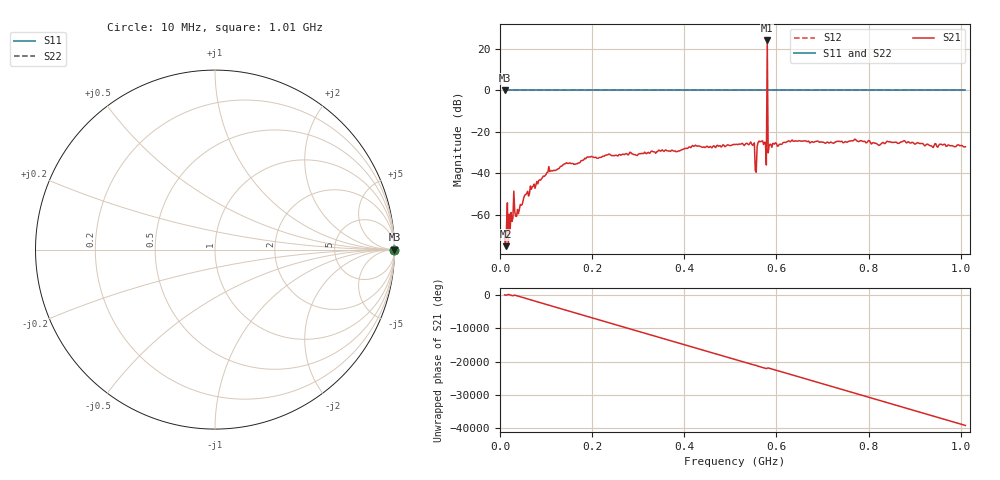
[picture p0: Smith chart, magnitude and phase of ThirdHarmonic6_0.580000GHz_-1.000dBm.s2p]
! 8/15/2025 6:44:15 PM
! C:\ANRITSUVNA\TEMP\TEMP.S2P
! CHANNEL.1
! TR.MEASUREMENT
! RAW.DATA
! RF.CORRECTION.OFF
! AVERAGING.OFF
! IF.BANDWIDTH: 5KHZ
! SWEEPTYPE:  FREQ.SWEEP(Linear)
! Reference Plane Port Info
! PORT:  PORT1  PORT2
! DISTANCE:  0  m  0  m
! TIME:  0  s  0  s
! PHASE.OFFSET:  0  deg.  0  deg.
! LOSS:  0  dB  0  dB
! REF.LOSS:  0  dB  0  dB
! REF.FREQ:  0  Hz  0  Hz
! Power Info
! POWER:  -20  dBm  -20  dBm
! EFF.POWER:  -20  dBm  -20  dBm
! SOURCE.ATTEN:  0  dB  0  dB
! TEST.ATTEN:  0  dB  0  dB
# GHZ S RI R 50.0
! FREQ.GHZ  S11RE  S11IM  S21RE  S21IM  S12RE  S12IM  S22RE  S22IM
!; PortSelection: Port_12
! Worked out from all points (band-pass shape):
!   501 points, 10 MHz to 1.01 GHz, reference 50 ohm
!   highest |S21| = 24.14 dB at 580 MHz (marker M1); lowest = -75.1 dB at 12 MHz (marker M2)
!   |S21| within 3 dB of the highest: 579.9001 MHz to 580.1106 MHz (210.5 kHz wide, 0.0363 % of centre)
!   lowest |S11| = 0.0 dB at 10 MHz (marker M3)
!   |S11| at or under -10 dB: nowhere
!   |S22| runs from 0.0 to 0.0 dB; largest |S21 - S12| = 15
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0.01  1 0  9.54e-05 0.000253  1 0  1 0
0.012  1 0  0.000162 6.56e-05  1 0  1 0
0.02  1 0  -0.00102 0.000148  1 0  1 0
0.022  1 0  0.000425 9.71e-05  1 0  1 0
0.028  1 0  -0.000829 4.25e-05  1 0  1 0
0.038  1 0  -0.000371 0.00129  1 0  1 0
0.056  1 0  -0.000451 0.00305  1 0  1 0
0.102  1 0  0.00998 0.00355  1 0  1 0
0.178  1 0  -0.0203 -0.000447  1 0  1 0
0.344  1 0  0.0275 -0.0235  1 0  1 0
0.51  1 0  -0.0172 0.0463  1 0  1 0
0.548  1 0  0.0458 0.0125  1 0  1 0
0.554  1 0  -0.0112 0.00345  1 0  1 0
0.564  1 0  -0.00532 0.0576  1 0  1 0
0.574  1 0  0.0411 0.0382  1 0  1 0
0.576  1 0  0.0441 -0.0342  1 0  1 0
0.58  1 0  15.83 2.941  1 0  1 0
0.584  1 0  0.0459 0.00352  1 0  1 0
0.586  1 0  0.0132 -0.0487  1 0  1 0
0.678  1 0  -0.056 0.0137  1 0  1 0
0.844  1 0  0.032 -0.0475  1 0  1 0
1.01  1 0  0.011 0.0425  1 0  1 0
